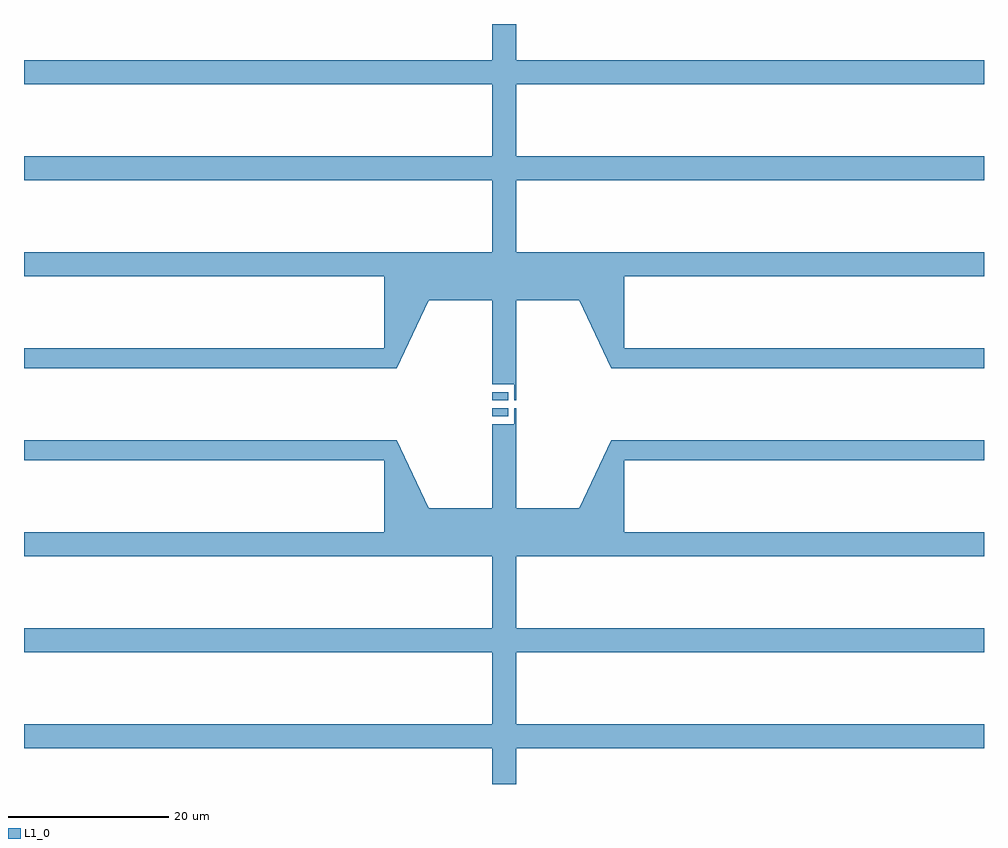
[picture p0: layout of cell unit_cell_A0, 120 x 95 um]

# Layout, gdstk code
from math import pi, radians
import gdstk
lib = gdstk.Library(unit=1e-6, precision=1e-09)
def R(c, l, rs):  # rectangles x0, y0, x1, y1
    for r in rs: c.add(gdstk.rectangle(r[:2], r[2:], *l))
def P(c, l, *ps):  # polygons
    for p in ps: c.add(gdstk.Polygon(p, *l))
L1_0 = (1, 0)

unnamed_2428 = lib.new_cell('Unnamed_2428')
P(unnamed_2428, L1_0, [(58.5,0),(58.5,4.5),(0,4.5),(0,7.5),(58.5,7.5),(58.5,16.5),(0,16.5),(0,19.5),(58.5,19.5),(58.5,28.5),(0,28.5),(0,31.5),(45,31.5),(45,40.5),(0,40.5),(0,43),(46.597,43),(50.596,34.5),(58.5,34.5),(58.5,45),(60,45),(60,0)])

unnamed_2429 = lib.new_cell('Unnamed_2429')
unnamed_2429.add(gdstk.Reference(unnamed_2428, (0,0)))

rectangle_s2_1_lwg_cfal_ = lib.new_cell('rectangle_S2_1_LWG_CFal_a0a9c26d')
R(rectangle_s2_1_lwg_cfal_, L1_0, [(0,0,2,1)])

rectangle_s0p2_2_lwg_cf_ = lib.new_cell('rectangle_S0p2_2_LWG_CF_9ef6d549')
R(rectangle_s0p2_2_lwg_cf_, L1_0, [(0,0,0.2,2)])

unnamed_2430 = lib.new_cell('Unnamed_2430')
unnamed_2430.add(gdstk.Reference(rectangle_s2_1_lwg_cfal_, (0,-1.5)))
unnamed_2430.add(gdstk.Reference(rectangle_s0p2_2_lwg_cf_, (2.8,-2.5)))

unit_cell_a0 = lib.new_cell('unit_cell_A0')
unit_cell_a0.add(gdstk.Reference(unnamed_2429, (0,0)))
unit_cell_a0.add(gdstk.Reference(unnamed_2429, (120,0), rotation=pi, x_reflection=True))
unit_cell_a0.add(gdstk.Reference(unnamed_2429, (0,95), x_reflection=True))
unit_cell_a0.add(gdstk.Reference(unnamed_2429, (120,95), rotation=pi))
unit_cell_a0.add(gdstk.Reference(unnamed_2430, (58.5,47.5)))
unit_cell_a0.add(gdstk.Reference(unnamed_2430, (58.5,47.5), x_reflection=True))

lib.write_gds('unit_cell_A0.gds')
